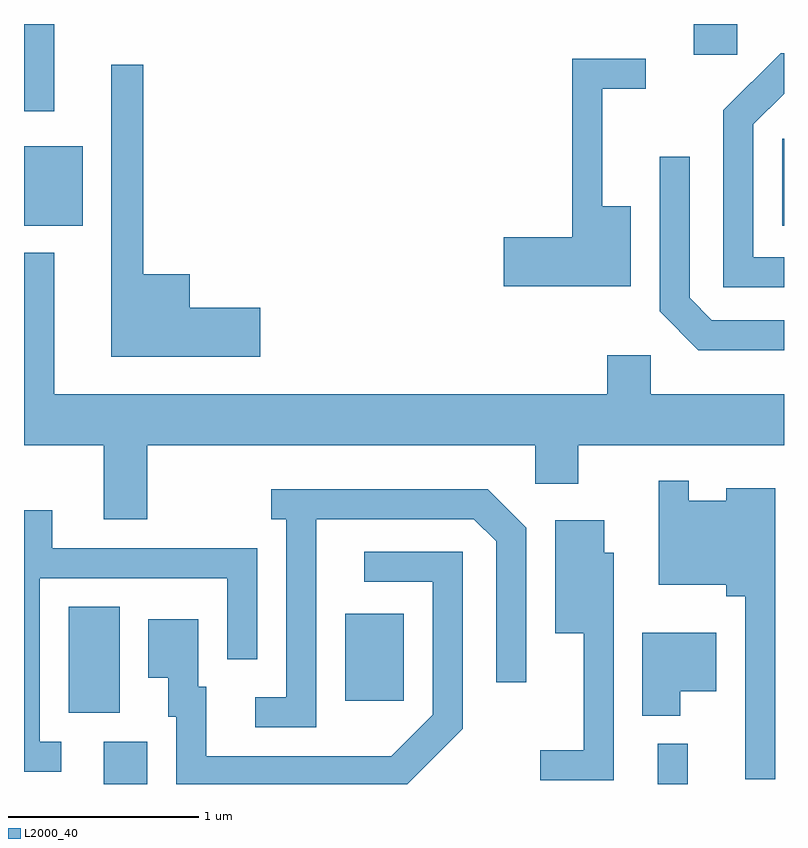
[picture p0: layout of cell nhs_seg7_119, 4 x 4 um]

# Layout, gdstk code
import gdstk
lib = gdstk.Library(unit=1e-6, precision=1e-09)
def R(c, l, rs):  # rectangles x0, y0, x1, y1
    for r in rs: c.add(gdstk.rectangle(r[:2], r[2:], *l))
def P(c, l, *ps):  # polygons
    for p in ps: c.add(gdstk.Polygon(p, *l))
L2000_40 = (2000, 40)

nhs_seg7_119 = lib.new_cell('nhs_seg7_119')
R(nhs_seg7_119, L2000_40, [(188.031,1770.252,188.259,1770.474), (190.946,1770.252,191.104,1770.463), (187.846,1770.626,188.114,1771.184), (189.301,1770.691,189.609,1771.149), (187.611,1773.191,187.919,1773.609), (191.601,1773.191,191.611,1773.649), (187.611,1773.793,187.769,1774.252), (191.136,1774.091,191.364,1774.252)])
P(nhs_seg7_119, L2000_40, [(191.611,1773.024),(191.449,1773.024),(191.449,1773.724),(191.611,1773.885),(191.611,1774.099),(191.594,1774.099),(191.291,1773.797),(191.291,1772.866),(191.611,1772.866)],
  [(190.804,1773.294),(190.654,1773.294),(190.654,1773.911),(190.883,1773.911),(190.883,1774.069),(190.496,1774.069),(190.496,1773.129),(190.136,1773.129),(190.136,1772.871),(190.804,1772.871)],
  [(188.854,1772.759),(188.484,1772.759),(188.484,1772.934),(188.239,1772.934),(188.239,1774.038),(188.071,1774.038),(188.071,1772.501),(188.854,1772.501)],
  [(191.611,1772.694),(191.232,1772.694),(191.114,1772.812),(191.114,1773.553),(190.956,1773.553),(190.956,1772.739),(191.159,1772.536),(191.611,1772.536)],
  [(188.259,1772.036),(190.301,1772.036),(190.301,1771.831),(190.529,1771.831),(190.529,1772.036),(191.611,1772.036),(191.611,1772.304),(190.909,1772.304),(190.909,1772.509),(190.681,1772.509),(190.681,1772.304),(187.769,1772.304),(187.769,1773.048),(187.611,1773.048),(187.611,1772.036),(188.031,1772.036),(188.031,1771.646),(188.259,1771.646)],
  [(191.564,1771.809),(191.306,1771.809),(191.306,1771.744),(191.109,1771.744),(191.109,1771.848),(190.951,1771.848),(190.951,1771.301),(191.306,1771.301),(191.306,1771.241),(191.406,1771.241),(191.406,1770.278),(191.564,1770.278)],
  [(189.149,1771.646),(189.979,1771.646),(190.096,1771.529),(190.096,1770.788),(190.254,1770.788),(190.254,1771.602),(190.052,1771.804),(188.913,1771.804),(188.913,1771.646),(188.991,1771.646),(188.991,1770.709),(188.828,1770.709),(188.828,1770.551),(189.149,1770.551)],
  [(187.808,1770.474),(187.694,1770.474),(187.694,1771.336),(188.681,1771.336),(188.681,1770.908),(188.839,1770.908),(188.839,1771.494),(187.759,1771.494),(187.759,1771.694),(187.611,1771.694),(187.611,1770.316),(187.808,1770.316)],
  [(190.714,1771.469),(190.664,1771.469),(190.664,1771.639),(190.406,1771.639),(190.406,1771.046),(190.556,1771.046),(190.556,1770.429),(190.328,1770.429),(190.328,1770.271),(190.714,1770.271)],
  [(189.919,1770.544),(189.919,1771.474),(189.403,1771.474),(189.403,1771.316),(189.761,1771.316),(189.761,1770.617),(189.544,1770.399),(188.569,1770.399),(188.569,1770.764),(188.529,1770.764),(188.529,1771.119),(188.266,1771.119),(188.266,1770.811),(188.371,1770.811),(188.371,1770.606),(188.411,1770.606),(188.411,1770.252),(189.628,1770.252)],
  [(191.064,1770.741),(191.254,1770.741),(191.254,1771.049),(190.866,1771.049),(190.866,1770.611),(191.064,1770.611)])

lib.write_gds('nhs_seg7_119.gds')
